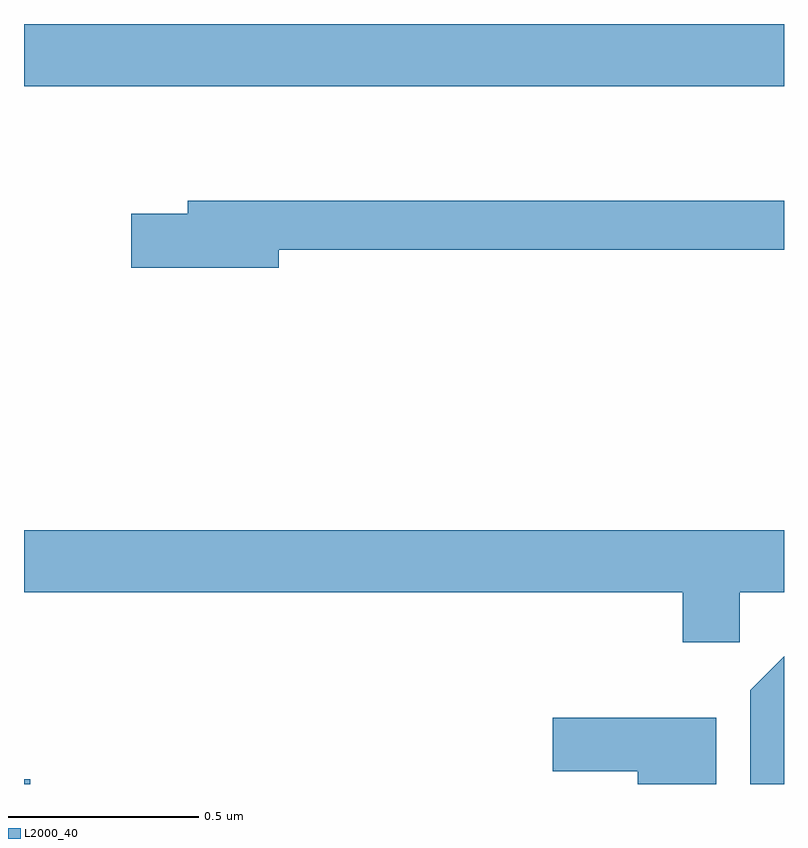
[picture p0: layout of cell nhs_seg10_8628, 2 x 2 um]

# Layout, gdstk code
import gdstk
lib = gdstk.Library(unit=1e-6, precision=1e-09)
def R(c, l, rs):  # rectangles x0, y0, x1, y1
    for r in rs: c.add(gdstk.rectangle(r[:2], r[2:], *l))
def P(c, l, *ps):  # polygons
    for p in ps: c.add(gdstk.Polygon(p, *l))
L2000_40 = (2000, 40)

nhs_seg10_8628 = lib.new_cell('nhs_seg10_8628')
R(nhs_seg10_8628, L2000_40, [(219,1278.5,219.016,1278.512), (219,1280.336,221,1280.5)])
P(nhs_seg10_8628, L2000_40, [(219.67,1279.906),(221,1279.906),(221,1280.035),(219.431,1280.035),(219.431,1280.001),(219.282,1280.001),(219.282,1279.859),(219.67,1279.859)],
  [(220.884,1279.004),(221,1279.004),(221,1279.168),(219,1279.168),(219,1279.004),(220.733,1279.004),(220.733,1278.873),(220.884,1278.873)],
  [(221,1278.836),(220.911,1278.747),(220.911,1278.5),(221,1278.5)],
  [(220.822,1278.675),(220.392,1278.675),(220.392,1278.533),(220.615,1278.533),(220.615,1278.5),(220.822,1278.5)])

lib.write_gds('nhs_seg10_8628.gds')
